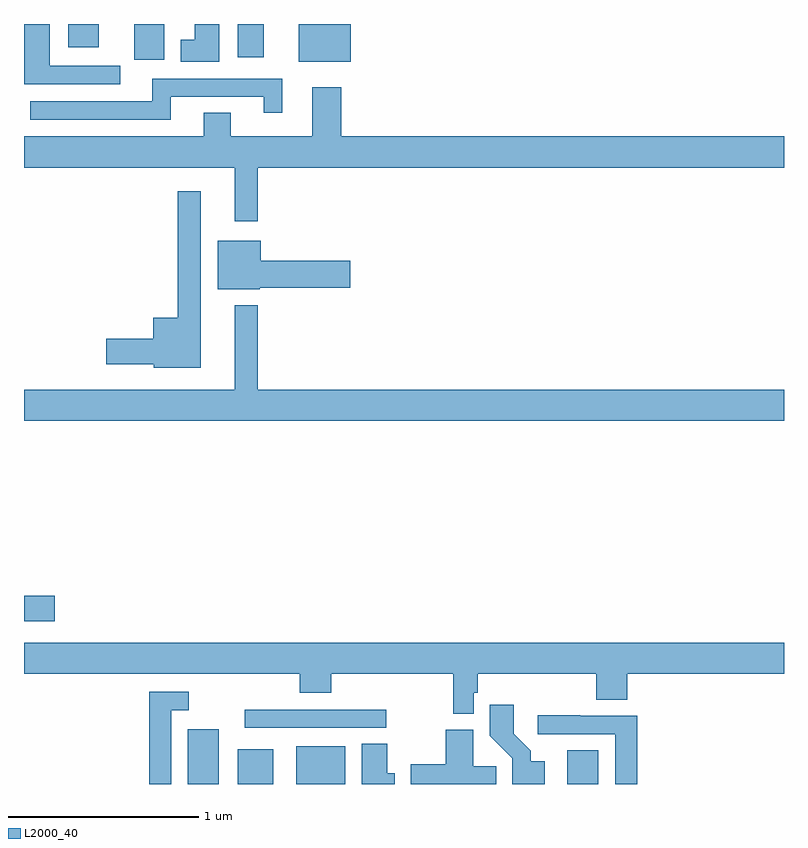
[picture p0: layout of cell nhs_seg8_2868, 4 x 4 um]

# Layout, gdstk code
import gdstk
lib = gdstk.Library(unit=1e-6, precision=1e-09)
def R(c, l, rs):  # rectangles x0, y0, x1, y1
    for r in rs: c.add(gdstk.rectangle(r[:2], r[2:], *l))
def P(c, l, *ps):  # polygons
    for p in ps: c.add(gdstk.Polygon(p, *l))
L2000_40 = (2000, 40)

nhs_seg8_2868 = lib.new_cell('nhs_seg8_2868')
R(nhs_seg8_2868, L2000_40, [(291.863,1135.9,292.024,1136.188), (292.124,1135.9,292.312,1136.083), (292.433,1135.9,292.69,1136.098), (293.858,1135.9,294.022,1136.078), (292.161,1136.196,292.906,1136.292), (291,1136.756,291.163,1136.891), (291.581,1139.712,291.739,1139.9), (292.124,1139.724,292.261,1139.9), (291.233,1139.778,291.394,1139.9)])
P(nhs_seg8_2868, L2000_40, [(292.721,1139.9),(292.55,1139.9),(292.55,1139.899),(292.445,1139.899),(292.445,1139.702),(292.721,1139.702)],
  [(291.507,1139.679),(291.136,1139.679),(291.136,1139.9),(291.002,1139.9),(291.002,1139.583),(291.507,1139.583)],
  [(292.027,1139.9),(291.899,1139.9),(291.899,1139.818),(291.825,1139.818),(291.825,1139.702),(292.027,1139.702)],
  [(291.772,1139.517),(292.262,1139.517),(292.262,1139.433),(292.36,1139.433),(292.36,1139.613),(291.674,1139.613),(291.674,1139.493),(291.033,1139.493),(291.033,1139.397),(291.772,1139.397)],
  [(292.231,1139.144),(295,1139.144),(295,1139.308),(292.67,1139.308),(292.67,1139.566),(292.517,1139.566),(292.517,1139.308),(292.087,1139.308),(292.087,1139.432),(291.947,1139.432),(291.947,1139.308),(291,1139.308),(291,1139.144),(292.109,1139.144),(292.109,1138.863),(292.231,1138.863)],
  [(291.931,1139.02),(291.81,1139.02),(291.81,1138.354),(291.68,1138.354),(291.68,1138.244),(291.432,1138.244),(291.432,1138.109),(291.684,1138.109),(291.684,1138.091),(291.931,1138.091)],
  [(292.242,1138.511),(292.717,1138.511),(292.717,1138.653),(292.246,1138.653),(292.246,1138.759),(292.019,1138.759),(292.019,1138.505),(292.242,1138.505)],
  [(295,1137.976),(292.231,1137.976),(292.231,1138.42),(292.109,1138.42),(292.109,1137.976),(291,1137.976),(291,1137.812),(295,1137.812)],
  [(293.367,1136.379),(293.387,1136.379),(293.387,1136.48),(294.011,1136.48),(294.011,1136.344),(294.176,1136.344),(294.176,1136.48),(295,1136.48),(295,1136.644),(291,1136.644),(291,1136.48),(292.451,1136.48),(292.451,1136.381),(292.616,1136.381),(292.616,1136.48),(293.259,1136.48),(293.259,1136.27),(293.367,1136.27)],
  [(291.774,1136.289),(291.868,1136.289),(291.868,1136.385),(291.658,1136.385),(291.658,1135.9),(291.774,1135.9)],
  [(293.74,1136.02),(293.668,1136.02),(293.668,1136.075),(293.578,1136.165),(293.578,1136.317),(293.452,1136.317),(293.452,1136.154),(293.571,1136.035),(293.571,1135.9),(293.74,1135.9)],
  [(294.227,1136.259),(293.927,1136.259),(293.927,1136.262),(293.703,1136.262),(293.703,1136.163),(294.111,1136.163),(294.111,1135.9),(294.227,1135.9)],
  [(293.486,1135.994),(293.365,1135.994),(293.365,1136.185),(293.221,1136.185),(293.221,1136.004),(293.036,1136.004),(293.036,1135.9),(293.486,1135.9)],
  [(292.951,1135.957),(292.912,1135.957),(292.912,1136.111),(292.778,1136.111),(292.778,1135.9),(292.951,1135.9)])

lib.write_gds('nhs_seg8_2868.gds')
